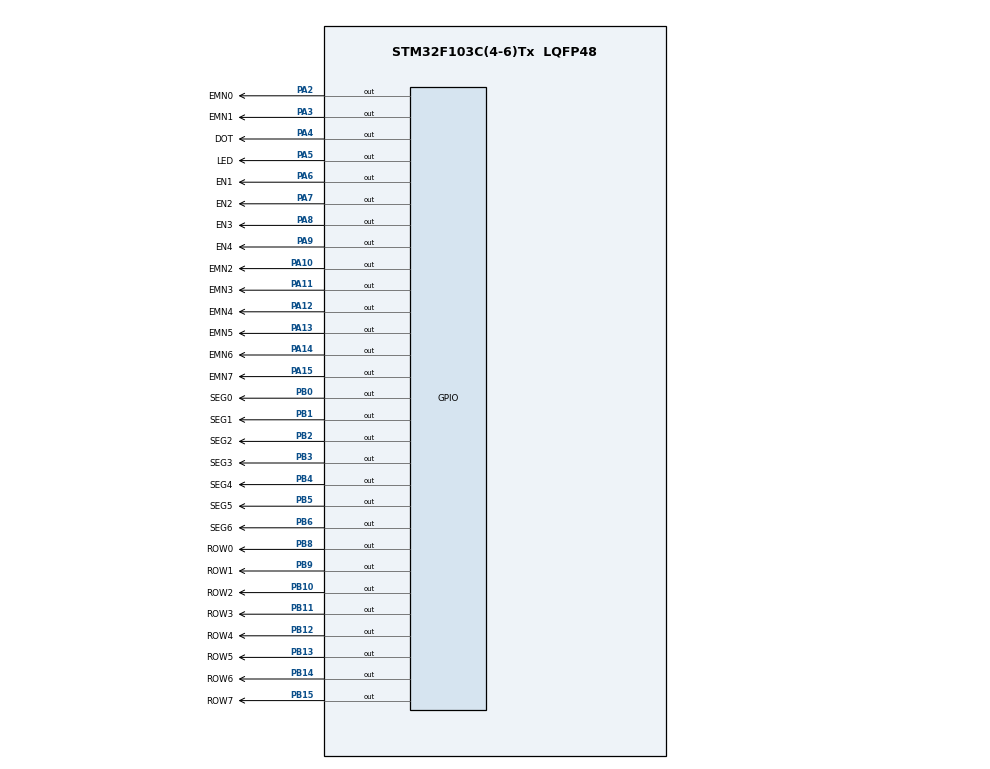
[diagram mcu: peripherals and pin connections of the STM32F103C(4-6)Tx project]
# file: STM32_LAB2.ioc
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Mcu.Family=STM32F1
Mcu.Name=STM32F103C(4-6)Tx
Mcu.Package=LQFP48
NVIC.PriorityGroup=NVIC_PRIORITYGROUP_4
NVIC.TIM2_IRQn=true\:0\:0\:false\:false\:true\:true\:true
PA10.GPIO_Label=EMN2
PA10.Signal=GPIO_Output
PA11.GPIO_Label=EMN3
PA11.Signal=GPIO_Output
PA12.GPIO_Label=EMN4
PA12.Signal=GPIO_Output
PA13.GPIO_Label=EMN5
PA13.Signal=GPIO_Output
PA14.GPIO_Label=EMN6
PA14.Signal=GPIO_Output
PA15.GPIO_Label=EMN7
PA15.Signal=GPIO_Output
PA2.GPIO_Label=EMN0
PA2.Signal=GPIO_Output
PA3.GPIO_Label=EMN1
PA3.Signal=GPIO_Output
PA4.GPIO_Label=DOT
PA4.GPIO_PuPd=GPIO_NOPULL
PA4.Signal=GPIO_Output
PA5.GPIO_Label=LED
PA5.Signal=GPIO_Output
PA6.GPIO_Label=EN1
PA6.GPIO_PuPd=GPIO_PULLUP
PA6.Signal=GPIO_Output
PA7.GPIO_Label=EN2
PA7.GPIO_PuPd=GPIO_PULLUP
PA7.Signal=GPIO_Output
PA8.GPIO_Label=EN3
PA8.GPIO_PuPd=GPIO_PULLUP
PA8.Signal=GPIO_Output
PA9.GPIO_Label=EN4
PA9.GPIO_PuPd=GPIO_PULLUP
PA9.Signal=GPIO_Output
PB0.GPIO_Label=SEG0
PB0.Signal=GPIO_Output
PB1.GPIO_Label=SEG1
PB1.Signal=GPIO_Output
PB10.GPIO_Label=ROW2
PB10.Signal=GPIO_Output
PB11.GPIO_Label=ROW3
PB11.Signal=GPIO_Output
PB12.GPIO_Label=ROW4
PB12.Signal=GPIO_Output
PB13.GPIO_Label=ROW5
PB13.Signal=GPIO_Output
PB14.GPIO_Label=ROW6
PB14.Signal=GPIO_Output
PB15.GPIO_Label=ROW7
PB15.Signal=GPIO_Output
PB2.GPIO_Label=SEG2
PB2.Signal=GPIO_Output
PB3.GPIO_Label=SEG3
PB3.Signal=GPIO_Output
PB4.GPIO_Label=SEG4
PB4.Signal=GPIO_Output
PB5.GPIO_Label=SEG5
PB5.Signal=GPIO_Output
PB6.GPIO_Label=SEG6
PB6.Signal=GPIO_Output
PB8.GPIO_Label=ROW0
PB8.Signal=GPIO_Output
PB9.GPIO_Label=ROW1
PB9.Signal=GPIO_Output
ProjectManager.HeapSize=0x200
ProjectManager.StackSize=0x400
ProjectManager.TargetToolchain=STM32CubeIDE
RCC.APB1Freq_Value=8000000
RCC.APB2Freq_Value=8000000
TIM2.Period=9
TIM2.Prescaler=7999
VP_SYS_VS_ND.Mode=No_Debug
VP_TIM2_VS_ClockSourceINT.Mode=Internal
board=custom

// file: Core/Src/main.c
/* USER CODE BEGIN Header */
/**
  ******************************************************************************
  * @file           : main.c
  * @brief          : Main program body
  ******************************************************************************
  * @attention
  *
  * <h2><center>&copy; Copyright (c) 2023 STMicroelectronics.
  * All rights reserved.</center></h2>
  *
  * This software component is licensed by ST under BSD 3-Clause license,
  * the "License"; You may not use this file except in compliance with the
  * License. You may obtain a copy of the License at:
  *                        opensource.org/licenses/BSD-3-Clause
  *
  ******************************************************************************
  */
/* USER CODE END Header */
#include "main.h"

/* USER CODE BEGIN Includes */
#include "software_timer.h"
/* USER CODE END Includes */

TIM_HandleTypeDef htim2;

void SystemClock_Config(void);
static void MX_GPIO_Init(void);
static void MX_TIM2_Init(void);

/* USER CODE BEGIN 0 */
unsigned char NUM[] = {0xc0, 0xf9, 0xa4, 0xb0, 0x99, 0x92, 0x82, 0xf8, 0x80, 0x90};
void display7SEG (int number){
	GPIOB -> ODR = NUM[number];
}
/* USER CODE END 0 */

int main(void)
{

  /* MCU Configuration--------------------------------------------------------*/

  /* Reset of all peripherals, Initializes the Flash interface and the Systick. */
  HAL_Init();

  /* Configure the system clock */
  SystemClock_Config();

  /* Initialize all configured peripherals */
  MX_GPIO_Init();
  MX_TIM2_Init();
  /* USER CODE BEGIN 2 */
  HAL_TIM_Base_Start_IT(&htim2);
  /* USER CODE END 2 */

  /* Infinite loop */
  while (1)
  {

  }
}

void SystemClock_Config(void)
{
  RCC_OscInitTypeDef RCC_OscInitStruct = {0};
  RCC_ClkInitTypeDef RCC_ClkInitStruct = {0};

  /** Initializes the RCC Oscillators according to the specified parameters
  * in the RCC_OscInitTypeDef structure.
  */
  RCC_OscInitStruct.OscillatorType = RCC_OSCILLATORTYPE_HSI;
  RCC_OscInitStruct.HSIState = RCC_HSI_ON;
  RCC_OscInitStruct.HSICalibrationValue = RCC_HSICALIBRATION_DEFAULT;
  RCC_OscInitStruct.PLL.PLLState = RCC_PLL_NONE;
  if (HAL_RCC_OscConfig(&RCC_OscInitStruct) != HAL_OK)
  {
    Error_Handler();
  }
  /** Initializes the CPU, AHB and APB buses clocks
  */
  RCC_ClkInitStruct.ClockType = RCC_CLOCKTYPE_HCLK|RCC_CLOCKTYPE_SYSCLK
                              |RCC_CLOCKTYPE_PCLK1|RCC_CLOCKTYPE_PCLK2;
  RCC_ClkInitStruct.SYSCLKSource = RCC_SYSCLKSOURCE_HSI;
  RCC_ClkInitStruct.AHBCLKDivider = RCC_SYSCLK_DIV1;
  RCC_ClkInitStruct.APB1CLKDivider = RCC_HCLK_DIV1;
  RCC_ClkInitStruct.APB2CLKDivider = RCC_HCLK_DIV1;

  if (HAL_RCC_ClockConfig(&RCC_ClkInitStruct, FLASH_LATENCY_0) != HAL_OK)
  {
    Error_Handler();
  }
}

static void MX_TIM2_Init(void)
{

  TIM_ClockConfigTypeDef sClockSourceConfig = {0};
  TIM_MasterConfigTypeDef sMasterConfig = {0};

  htim2.Instance = TIM2;
  htim2.Init.Prescaler = 7999;
  htim2.Init.CounterMode = TIM_COUNTERMODE_UP;
  htim2.Init.Period = 9;
  htim2.Init.ClockDivision = TIM_CLOCKDIVISION_DIV1;
  htim2.Init.AutoReloadPreload = TIM_AUTORELOAD_PRELOAD_DISABLE;
  if (HAL_TIM_Base_Init(&htim2) != HAL_OK)
  {
    Error_Handler();
  }
  sClockSourceConfig.ClockSource = TIM_CLOCKSOURCE_INTERNAL;
  if (HAL_TIM_ConfigClockSource(&htim2, &sClockSourceConfig) != HAL_OK)
  {
    Error_Handler();
  }
  sMasterConfig.MasterOutputTrigger = TIM_TRGO_RESET;
  sMasterConfig.MasterSlaveMode = TIM_MASTERSLAVEMODE_DISABLE;
  if (HAL_TIMEx_MasterConfigSynchronization(&htim2, &sMasterConfig) != HAL_OK)
  {
    Error_Handler();
  }

}

static void MX_GPIO_Init(void)
{
  GPIO_InitTypeDef GPIO_InitStruct = {0};

  /* GPIO Ports Clock Enable */
  __HAL_RCC_GPIOA_CLK_ENABLE();
  __HAL_RCC_GPIOB_CLK_ENABLE();

  /*Configure GPIO pin Output Level */
  HAL_GPIO_WritePin(GPIOA, DOT_Pin|LED_Pin|EN1_Pin|EN2_Pin
                          |EN3_Pin|EN4_Pin, GPIO_PIN_RESET);

  /*Configure GPIO pin Output Level */
  HAL_GPIO_WritePin(GPIOB, SEG0_Pin|SEG1_Pin|SEG2_Pin|SEG3_Pin
                          |SEG4_Pin|SEG5_Pin|SEG6_Pin, GPIO_PIN_RESET);

  /*Configure GPIO pins : DOT_Pin LED_Pin */
  GPIO_InitStruct.Pin = DOT_Pin|LED_Pin;
  GPIO_InitStruct.Mode = GPIO_MODE_OUTPUT_PP;
  GPIO_InitStruct.Pull = GPIO_NOPULL;
  GPIO_InitStruct.Speed = GPIO_SPEED_FREQ_LOW;
  HAL_GPIO_Init(GPIOA, &GPIO_InitStruct);

  /*Configure GPIO pins : EN1_Pin EN2_Pin EN3_Pin EN4_Pin */
  GPIO_InitStruct.Pin = EN1_Pin|EN2_Pin|EN3_Pin|EN4_Pin;
  GPIO_InitStruct.Mode = GPIO_MODE_OUTPUT_PP;
  GPIO_InitStruct.Pull = GPIO_PULLUP;
  GPIO_InitStruct.Speed = GPIO_SPEED_FREQ_LOW;
  HAL_GPIO_Init(GPIOA, &GPIO_InitStruct);

  /*Configure GPIO pins : SEG0_Pin SEG1_Pin SEG2_Pin SEG3_Pin
                           SEG4_Pin SEG5_Pin SEG6_Pin */
  GPIO_InitStruct.Pin = SEG0_Pin|SEG1_Pin|SEG2_Pin|SEG3_Pin
                          |SEG4_Pin|SEG5_Pin|SEG6_Pin;
  GPIO_InitStruct.Mode = GPIO_MODE_OUTPUT_PP;
  GPIO_InitStruct.Pull = GPIO_NOPULL;
  GPIO_InitStruct.Speed = GPIO_SPEED_FREQ_LOW;
  HAL_GPIO_Init(GPIOB, &GPIO_InitStruct);

}

/* USER CODE BEGIN 4 */
int stasus = 1;
int counter = 0;
void HAL_TIM_PeriodElapsedCallback ( TIM_HandleTypeDef * htim)
{

	counter --;
	if(counter <= 0){
		switch(stasus){
		case 1:
		display7SEG(1);
		HAL_GPIO_WritePin(EN1_GPIO_Port, EN1_Pin, 0);
		HAL_GPIO_WritePin(EN2_GPIO_Port, EN2_Pin, 1);
		HAL_GPIO_WritePin(EN3_GPIO_Port, EN3_Pin, 1);
		HAL_GPIO_WritePin(EN4_GPIO_Port, EN4_Pin, 1);

		stasus = 2;
		counter = 50;
		break;
		case 2:
		display7SEG(2);
		HAL_GPIO_WritePin(EN1_GPIO_Port, EN1_Pin, 1);
		HAL_GPIO_WritePin(EN2_GPIO_Port, EN2_Pin, 0);
		HAL_GPIO_WritePin(EN3_GPIO_Port, EN3_Pin, 1);
		HAL_GPIO_WritePin(EN4_GPIO_Port, EN4_Pin, 1);

		stasus = 3;
		counter = 50;
		break;
		case 3:
		display7SEG(3);
		HAL_GPIO_WritePin(EN1_GPIO_Port, EN1_Pin, 1);
		HAL_GPIO_WritePin(EN2_GPIO_Port, EN2_Pin, 1);
		HAL_GPIO_WritePin(EN3_GPIO_Port, EN3_Pin, 0);
		HAL_GPIO_WritePin(EN4_GPIO_Port, EN4_Pin, 1);

		stasus = 4;
		counter = 50;
		break;
		case 4:
		display7SEG(0);
		HAL_GPIO_WritePin(EN1_GPIO_Port, EN1_Pin, 1);
		HAL_GPIO_WritePin(EN2_GPIO_Port, EN2_Pin, 1);
		HAL_GPIO_WritePin(EN3_GPIO_Port, EN3_Pin, 1);
		HAL_GPIO_WritePin(EN4_GPIO_Port, EN4_Pin, 0);

		stasus = 1;
		counter = 50;
		break;
		default:
			break;

		}
	}

}
/* USER CODE END 4 */

void Error_Handler(void)
{
  __disable_irq();
  while (1)
  {
  }
}

/************************ (C) COPYRIGHT STMicroelectronics *****END OF FILE****/
